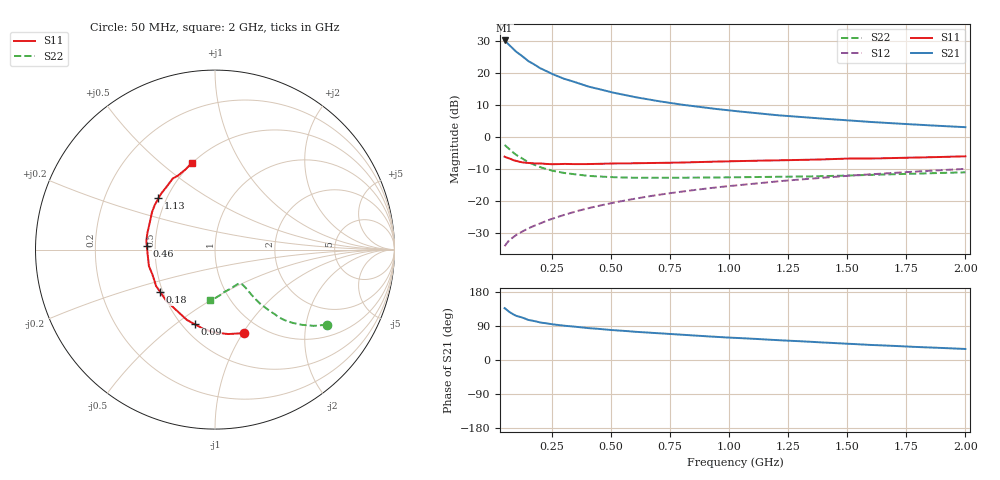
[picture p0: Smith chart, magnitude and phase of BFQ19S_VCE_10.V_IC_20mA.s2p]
! (c) 2016  Infineon Technologies AG, Munich
! Infineon Technologies  Discrete & RF Semiconductors
! BFQ19S
! VCE =  10. V,  IC =  20 mA
! Common Emitter S-Parameters:  Jan 2016
# GHz  S  MA  R  50
!  f  S11  S21  S12  S22
! GHz  MAG  ANG  MAG  ANG  MAG  ANG  MAG  ANG
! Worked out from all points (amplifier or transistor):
!   391 points, 50 MHz to 2 GHz, reference 50 ohm
!   highest |S21| = 30.1 dB at 50 MHz (marker M1)
!   |S21| within 3 dB of that: start of sweep to 91.59 MHz
!   unconditionally stable (mu >= 1): 396.2 MHz to 1.456 GHz
!   at 375 MHz: K = 0.98, MSG = 19.6 dB, |S12| = -22.8 dB
!   at 1.025 GHz: K = 1.03, MAG = 10.5 dB, |S12| = -15.1 dB
!   at 2 GHz: K = 0.95, MSG = 6.5 dB, |S12| = -10.0 dB
!   S11 on the Smith chart (normalised r, x): 50 MHz: 0.82, -1.01; 90 MHz: 0.58, -0.59; 180 MHz: 0.48, -0.27; 460 MHz: 0.45, +0.02; 1.13 GHz: 0.45, +0.31; 2 GHz: 0.50, +0.64
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0.05  0.492 -71.1  32.08 136.9  0.0197 64.7  0.7516 -33.8
0.06  0.4762 -81.1  29.5 131.6  0.0221 63.2  0.6947 -37.7
0.07  0.4614 -90.8  27.1 126.9  0.0245 61.9  0.6435 -40.7
0.08  0.4461 -98.5  24.93 122.7  0.0261 61.1  0.5974 -43.2
0.09  0.4305 -105.2  22.99 119.3  0.0279 60.4  0.5566 -45.2
0.1  0.4222 -111.7  21.26 116.3  0.0296 60.0  0.5207 -46.6
0.15  0.3943 -133.3  15.3 105.8  0.0372 61.5  0.4017 -50.0
0.18  0.386 -142.2  13.21 102.2  0.0418 62.5  0.3627 -50.6
0.2  0.3858 -148.3  11.86 99.1  0.0448 63.0  0.3368 -51.0
0.25  0.3751 -158.0  9.635 94.3  0.0524 64.9  0.2975 -51.2
0.3  0.3795 -166.1  8.127 90.5  0.0603 65.8  0.2742 -51.2
0.375  0.3761 -174.8  6.652 86.2  0.0724 66.8  0.2538 -51.7
0.4  0.3769 -177.7  6.171 84.3  0.0764 67.0  0.247 -51.9
0.46  0.381 176.6  5.459 81.5  0.0859 67.3  0.2403 -52.8
0.6  0.3882 166.2  4.19 74.6  0.1083 67.3  0.2301 -55.8
0.7  0.3906 160.1  3.622 70.5  0.1246 66.8  0.2301 -58.6
0.82  0.4003 153.0  3.121 65.7  0.1432 65.8  0.2312 -62.4
1.03  0.4187 142.6  2.526 58.2  0.1757 63.6  0.2344 -68.6
1.13  0.4256 137.9  2.324 55.1  0.191 62.4  0.2361 -71.6
1.35  0.4413 127.9  1.989 47.9  0.2244 59.8  0.2421 -77.8
1.675  0.4659 114.2  1.649 37.8  0.2715 55.2  0.2608 -86.1
2  0.4985 105.2  1.42 29.1  0.3173 50.9  0.2802 -95.3
